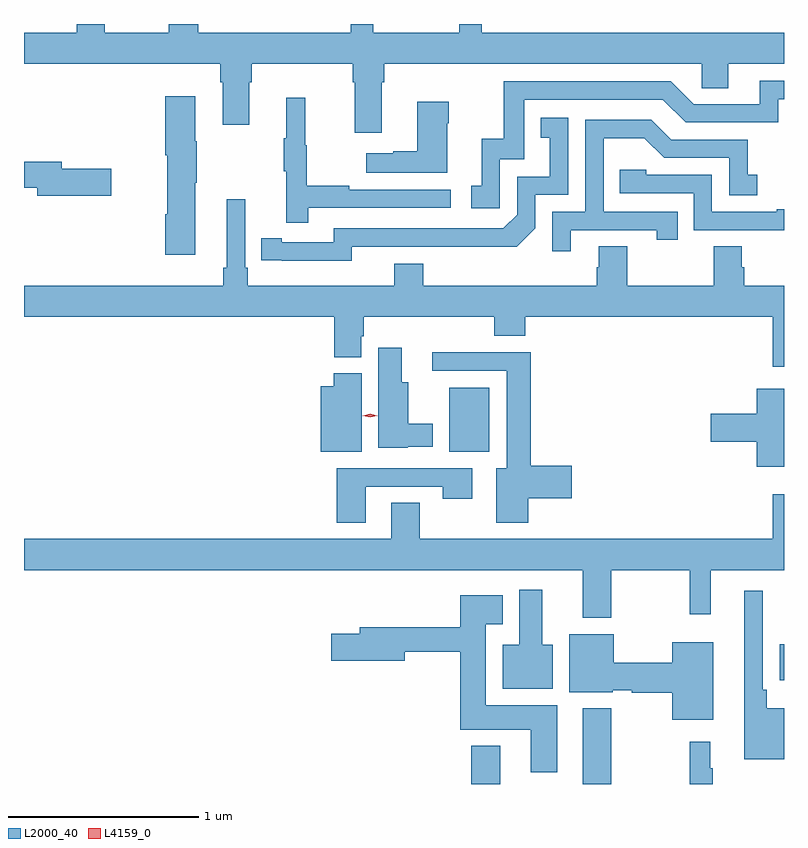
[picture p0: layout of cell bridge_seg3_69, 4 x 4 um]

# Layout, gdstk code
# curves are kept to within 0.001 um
import gdstk
lib = gdstk.Library(unit=1e-6, precision=1e-09)
def R(c, l, rs):  # rectangles x0, y0, x1, y1
    for r in rs: c.add(gdstk.rectangle(r[:2], r[2:], *l))
def P(c, l, *ps):  # polygons
    for p in ps: c.add(gdstk.Polygon(p, *l))
L2000_40 = (2000, 40)
L4159_0 = (4159, 0)

bridge_seg3_69 = lib.new_cell('bridge_seg3_69')
R(bridge_seg3_69, L2000_40, [(509.729,671.818,509.881,672.019), (510.317,671.818,510.465,672.217), (511.352,672.365,511.375,672.553), (509.612,673.568,509.824,673.903)])
P(bridge_seg3_69, L2000_40, [(509.257,675.512),(509.27,675.512),(509.27,675.608),(510.942,675.608),(510.942,675.481),(511.081,675.481),(511.081,675.608),(511.375,675.608),(511.375,675.772),(509.783,675.772),(509.783,675.818),(509.666,675.818),(509.666,675.772),(509.213,675.772),(509.213,675.818),(509.095,675.818),(509.095,675.772),(508.293,675.772),(508.293,675.818),(508.138,675.818),(508.138,675.772),(507.801,675.772),(507.801,675.818),(507.653,675.818),(507.653,675.772),(507.375,675.772),(507.375,675.608),(508.409,675.608),(508.409,675.512),(508.421,675.512),(508.421,675.288),(508.561,675.288),(508.561,675.512),(508.574,675.512),(508.574,675.608),(509.105,675.608),(509.105,675.512),(509.117,675.512),(509.117,675.246),(509.257,675.246)],
  [(509.88,675.105),(510.009,675.105),(510.009,675.42),(510.738,675.42),(510.858,675.3),(511.344,675.3),(511.344,675.423),(511.375,675.423),(511.375,675.519),(511.247,675.519),(511.247,675.396),(510.9,675.396),(510.78,675.516),(509.901,675.516),(509.901,675.214),(509.783,675.214),(509.783,674.967),(509.73,674.967),(509.73,674.847),(509.88,674.847)],
  [(508.276,674.983),(508.284,674.983),(508.284,675.2),(508.276,675.2),(508.276,675.439),(508.118,675.439),(508.118,675.126),(508.13,675.126),(508.13,674.816),(508.118,674.816),(508.118,674.604),(508.276,674.604)],
  [(508.871,674.85),(509.62,674.85),(509.62,674.946),(509.087,674.946),(509.087,674.966),(508.864,674.966),(508.864,675.18),(508.856,675.18),(508.856,675.43),(508.754,675.43),(508.754,675.217),(508.743,675.217),(508.743,675.043),(508.754,675.043),(508.754,674.772),(508.871,674.772)],
  [(509.602,675.296),(509.61,675.296),(509.61,675.409),(509.444,675.409),(509.444,675.149),(509.318,675.149),(509.318,675.139),(509.175,675.139),(509.175,675.035),(509.602,675.035)],
  [(509.1,674.646),(509.968,674.645),(510.066,674.742),(510.066,674.919),(510.24,674.919),(510.24,675.325),(510.094,675.325),(510.094,675.219),(510.143,675.219),(510.143,675.015),(509.97,675.015),(509.97,674.814),(509.898,674.742),(509.004,674.742),(509.004,674.67),(508.732,674.67),(508.732,674.69),(508.624,674.69),(508.624,674.574),(509.1,674.573)],
  [(510.253,674.733),(510.704,674.733),(510.704,674.682),(510.815,674.682),(510.815,674.829),(510.426,674.829),(510.426,675.218),(510.64,675.218),(510.744,675.114),(511.086,675.114),(511.086,674.916),(511.234,674.916),(511.234,675.025),(511.185,675.025),(511.185,675.21),(510.781,675.21),(510.676,675.315),(510.33,675.315),(510.33,674.829),(510.156,674.829),(510.156,674.622),(510.253,674.622)],
  [(507.835,675.056),(507.574,675.056),(507.574,675.092),(507.375,675.092),(507.375,674.956),(507.446,674.956),(507.446,674.914),(507.835,674.914)],
  [(511.375,674.842),(511.337,674.842),(511.337,674.829),(510.996,674.829),(510.996,675.024),(510.651,675.024),(510.651,675.051),(510.511,675.051),(510.511,674.928),(510.9,674.928),(510.9,674.733),(511.375,674.733)],
  [(511.006,674.648),(511.006,674.44),(510.549,674.44),(510.549,674.648),(510.401,674.648),(510.401,674.538),(510.389,674.538),(510.389,674.44),(509.477,674.44),(509.477,674.557),(509.324,674.557),(509.324,674.44),(508.553,674.44),(508.553,674.536),(508.539,674.536),(508.539,674.896),(508.442,674.896),(508.442,674.536),(508.423,674.536),(508.423,674.44),(507.375,674.44),(507.375,674.276),(509.009,674.276),(509.009,674.065),(509.149,674.065),(509.149,674.175),(509.162,674.175),(509.162,674.276),(509.849,674.276),(509.849,674.177),(510.014,674.177),(510.014,674.276),(511.315,674.276),(511.315,674.013),(511.375,674.013),(511.375,674.44),(511.166,674.44),(511.166,674.538),(511.153,674.538),(511.153,674.648)],
  [(509.394,673.592),(509.527,673.592),(509.527,673.714),(509.398,673.714),(509.398,673.933),(509.362,673.933),(509.362,674.113),(509.24,674.113),(509.24,673.589),(509.394,673.589)],
  [(510.028,673.322),(510.259,673.322),(510.259,673.493),(510.041,673.493),(510.041,674.09),(509.523,674.09),(509.523,673.992),(509.915,673.992),(509.915,673.48),(509.861,673.48),(509.861,673.194),(510.028,673.194)],
  [(509.152,673.98),(509.006,673.98),(509.006,673.912),(508.937,673.912),(508.937,673.568),(509.152,673.568)],
  [(511.375,673.897),(511.232,673.897),(511.232,673.766),(510.99,673.766),(510.99,673.619),(511.232,673.619),(511.232,673.487),(511.375,673.487)],
  [(509.173,673.383),(509.578,673.383),(509.578,673.32),(509.734,673.32),(509.734,673.479),(509.021,673.479),(509.021,673.194),(509.173,673.194)],
  [(510.465,672.944),(510.879,672.944),(510.879,672.711),(510.989,672.711),(510.989,672.944),(511.375,672.944),(511.375,673.342),(511.315,673.342),(511.315,673.108),(509.457,673.108),(509.457,673.298),(509.309,673.298),(509.309,673.108),(507.375,673.108),(507.375,672.944),(510.317,672.944),(510.317,672.692),(510.465,672.692)],
  [(510.157,672.55),(510.103,672.55),(510.103,672.841),(509.981,672.841),(509.981,672.55),(509.894,672.55),(509.894,672.32),(510.157,672.32)],
  [(511.375,672.217),(511.283,672.217),(511.283,672.313),(511.263,672.313),(511.263,672.835),(511.166,672.835),(511.166,671.948),(511.375,671.948)],
  [(510.181,672.232),(509.806,672.232),(509.806,672.659),(509.896,672.659),(509.896,672.811),(509.672,672.811),(509.672,672.643),(509.141,672.643),(509.141,672.609),(508.992,672.609),(508.992,672.467),(509.38,672.467),(509.38,672.514),(509.672,672.514),(509.672,672.104),(510.041,672.104),(510.041,671.88),(510.181,671.88)],
  [(511.003,672.565),(510.788,672.565),(510.788,672.455),(510.478,672.455),(510.478,672.607),(510.245,672.607),(510.245,672.302),(510.474,672.302),(510.474,672.311),(510.574,672.311),(510.574,672.299),(510.788,672.299),(510.788,672.155),(511.003,672.155)],
  [(510.879,672.04),(510.879,671.818),(511,671.818),(511,671.9),(510.988,671.9),(510.988,672.04)])
P(bridge_seg3_69, L4159_0, [(509.197,673.747),(509.159,673.756),(509.159,673.757),(509.159,673.757),(509.197,673.767),(509.235,673.757),(509.235,673.757),(509.235,673.756)])

lib.write_gds('bridge_seg3_69.gds')
